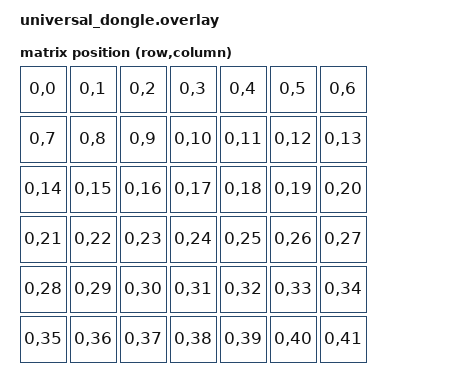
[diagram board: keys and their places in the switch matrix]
/*
 * Universal dongle: keyless central for the XIAO BLE dongle hardware.
 *
 * One firmware for all three keyboards. The keymap (universal_dongle.keymap)
 * carries two configurations and is switched at runtime with the Z+X combo:
 *
 *   layers 0-3  Totem config        (totem-native 38 positions)
 *   layers 4-7  Corne/Kometa config (shared 42 positions)
 *
 * Drives totem, corne, and kometa halves flashed in peripheral mode.
 */

#include <dt-bindings/zmk/matrix_transform.h>

/ {
    chosen {
        zmk,kscan = &universal_dongle_kscan;
        // The transform sizes ZMK_KEYMAP_LEN — ZMK's per-position runtime
        // state (keymap.c, hold-taps, combos, macros). Without it ZMK falls
        // back to the mock kscan's 0x0 matrix, sizing those arrays to zero;
        // every position event from the halves would then write far out of
        // bounds and corrupt the firmware. 42 = union of totem (0-37) and
        // corne/kometa (0-41) positions; the map itself is never consulted
        // because the mock kscan emits no matrix events.
        zmk,matrix-transform = &universal_dongle_transform;
    };

    universal_dongle_kscan: kscan_1 {
        compatible = "zmk,kscan-mock";
        columns = <0>;
        rows = <0>;
        events = <0>;
    };

    universal_dongle_transform: keymap_transform_0 {
        compatible = "zmk,matrix-transform";
        columns = <42>;
        rows = <1>;

        map = <
            RC(0,0)  RC(0,1)  RC(0,2)  RC(0,3)  RC(0,4)  RC(0,5)  RC(0,6)
            RC(0,7)  RC(0,8)  RC(0,9)  RC(0,10) RC(0,11) RC(0,12) RC(0,13)
            RC(0,14) RC(0,15) RC(0,16) RC(0,17) RC(0,18) RC(0,19) RC(0,20)
            RC(0,21) RC(0,22) RC(0,23) RC(0,24) RC(0,25) RC(0,26) RC(0,27)
            RC(0,28) RC(0,29) RC(0,30) RC(0,31) RC(0,32) RC(0,33) RC(0,34)
            RC(0,35) RC(0,36) RC(0,37) RC(0,38) RC(0,39) RC(0,40) RC(0,41)
        >;
    };
};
